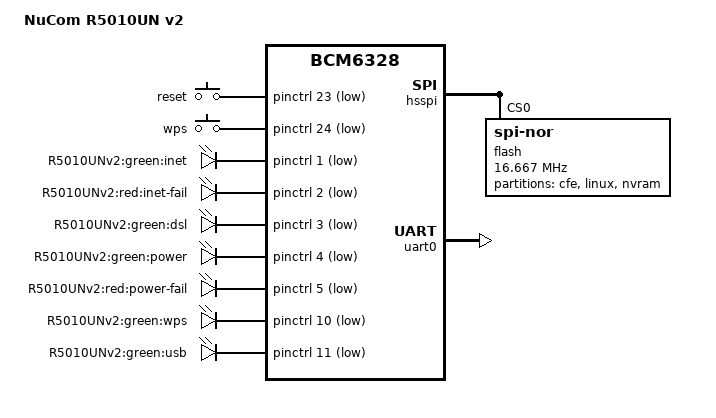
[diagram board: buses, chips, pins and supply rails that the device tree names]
/dts-v1/;

#include "bcm6328.dtsi"

#include <dt-bindings/input/input.h>

/ {
	model = "NuCom R5010UN v2";
	compatible = "nucom,r5010unv2", "brcm,bcm6328";

	chosen {
		bootargs = "rootfstype=squashfs,jffs2 noinitrd console=ttyS0,115200";
		stdout-path = "serial0:115200n8";
	};


	gpio-keys-polled {
		compatible = "gpio-keys-polled";
		#address-cells = <1>;
		#size-cells = <0>;
		poll-interval = <20>;

		reset {
			label = "reset";
			gpios = <&pinctrl 23 1>;
			linux,code = <KEY_RESTART>;
			debounce-interval = <60>;
		};

		wps {
			label = "wps";
			gpios = <&pinctrl 24 1>;
			linux,code = <KEY_WPS_BUTTON>;
			debounce-interval = <60>;
		};
	};

	gpio-leds {
		compatible = "gpio-leds";

		inet_green {
			label = "R5010UNv2:green:inet";
			gpios = <&pinctrl 1 1>;
		};
		inet_fail_red {
			label = "R5010UNv2:red:inet-fail";
			gpios = <&pinctrl 2 1>;
		};
		dsl_red {
			label = "R5010UNv2:green:dsl";
			gpios = <&pinctrl 3 1>;
		};
		power_green {
			label = "R5010UNv2:green:power";
			gpios = <&pinctrl 4 1>;
			default-state = "on";
		};
		power_fail_red {
			label = "R5010UNv2:red:power-fail";
			gpios = <&pinctrl 5 1>;
		};
		wps_green {
			label = "R5010UNv2:green:wps";
			gpios = <&pinctrl 10 1>;
		};
		usb_green {
			label = "R5010UNv2:green:usb";
			gpios = <&pinctrl 11 1>;
		};
	};
};

&hsspi {
	status = "ok";

	flash@0 {
		compatible = "jedec,spi-nor";
		spi-max-frequency = <16666667>;
		spi-tx-bus-width = <2>;
		spi-rx-bus-width = <2>;
		reg = <0>;

		#address-cells = <1>;
		#size-cells = <1>;

		partitions {
			compatible = "fixed-partitions";
			#address-cells = <1>;
			#size-cells = <1>;

			cfe@0 {
				reg = <0x000000 0x010000>;
				label = "cfe";
				read-only;
			};

			linux@10000 {
				reg = <0x010000 0x7e0000>;
				label = "linux";
				compatible = "brcm,bcm963xx-imagetag";
			};

			nvram@7f0000 {
				reg = <0x7f0000 0x010000>;
				label = "nvram";
			};
		};
	};
};

&uart0 {
	status = "ok";
};
